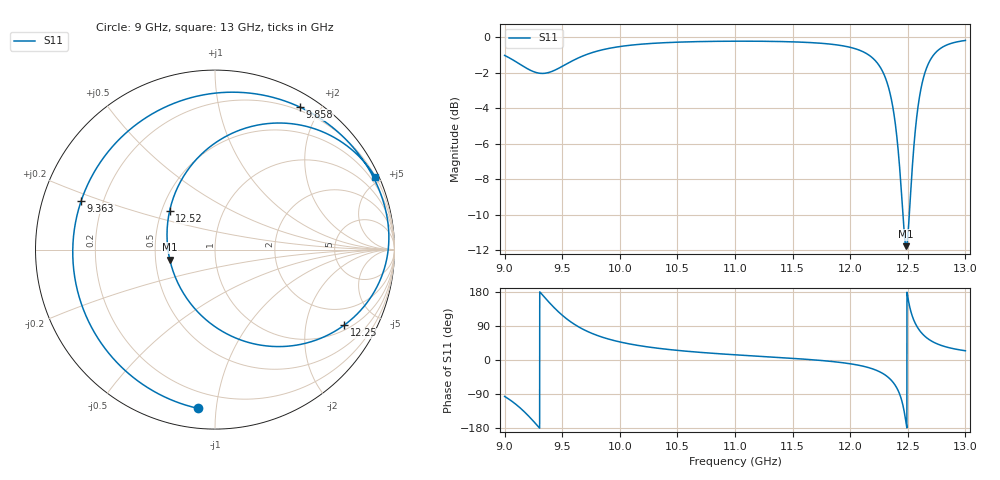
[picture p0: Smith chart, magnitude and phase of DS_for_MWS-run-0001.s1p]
! TOUCHSTONE file generated by CST DESIGN STUDIO
! Date and time: Tue Feb  4 14:32:36 2025
! Project name: C:\Work\MatlabApps\UnitCellOptimizationMatlab\CST\unitcell.cst
! Tree item: Tasks\Sweep1\SPara1\S-Parameters
! Header version: 2024
! Port assignment regex: !\s*Touchstone port\s*([0-9]+)\s*=\s*(CST MWS port|CST DES external port|CST DES block port)\s*(.+)\s* \(\"(.*)\"\)(\s*mode\s*([0-9]+))?.*
! Touchstone port assignment:
! Touchstone port 1 = CST DES external port 1 ("")
# GHz S MA R 50
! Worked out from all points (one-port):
!   4001 points, 9 GHz to 13 GHz, reference 50 ohm
!   lowest |S11| = -11.8 dB at 12.49 GHz (marker M1), VSWR 1.70, Z = 29.7 - j3.53 ohm
!   |S11| at or under -10 dB: 12.45755 GHz to 12.51302 GHz (55.47 MHz wide, 0.444 % of centre)
!   S11 on the Smith chart (normalised r, x): 9 GHz: 0.11, -0.89; 9.363 GHz: 0.12, +0.17; 9.858 GHz: 0.16, +1.75; 12.25 GHz: 1.19, -3.29; 12.52 GHz: 0.55, +0.27; 13 GHz: 0.22, +4.61
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9  0.8897 -96.1
9.085  0.8591 -113.9
9.164  0.8284 -134.5
9.269  0.797 -167.8
9.363  0.7936 159.9
9.433  0.8076 137.3
9.5  0.8287 118.2
9.642  0.8759 87.5
9.858  0.9242 59.2
10  0.9423 47.7
10.216  0.9586 35.7
10.5  0.9694 25.4
11  0.9757 13.7
11.5  0.9715 4.3
12  0.9375 -9.9
12.148  0.8978 -19.1
12.251  0.8335 -30.4
12.328  0.7319 -45.1
12.396  0.5564 -69.2
12.44  0.3851 -99.3
12.486  0.2581 -167.6
12.5  0.2755 166.0
12.517  0.3318 139.7
12.574  0.5833 91.4
12.635  0.7674 66.4
12.699  0.8681 51.2
12.775  0.9266 40.2
13  0.9803 24.4
